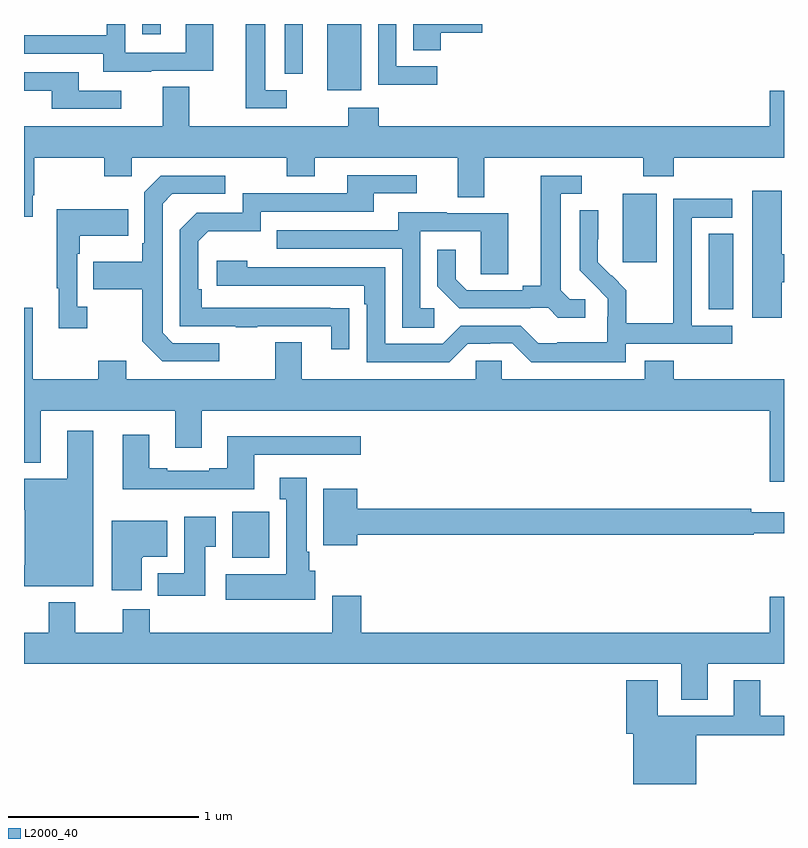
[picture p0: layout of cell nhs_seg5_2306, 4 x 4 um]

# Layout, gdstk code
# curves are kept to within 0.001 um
import gdstk
lib = gdstk.Library(unit=1e-6, precision=1e-09)
def R(c, l, rs):  # rectangles x0, y0, x1, y1
    for r in rs: c.add(gdstk.rectangle(r[:2], r[2:], *l))
def P(c, l, *ps):  # polygons
    for p in ps: c.add(gdstk.Polygon(p, *l))
L2000_40 = (2000, 40)

nhs_seg5_2306 = lib.new_cell('nhs_seg5_2306')
R(nhs_seg5_2306, L2000_40, [(246.095,851.99,246.292,852.232), (248.603,853.297,248.734,853.694), (248.15,853.545,248.329,853.906), (246.596,854.45,246.775,854.799), (245.622,854.745,245.719,854.799)])
P(nhs_seg5_2306, L2000_40, [(246.382,854.451),(246.271,854.451),(246.271,854.799),(246.167,854.799),(246.167,854.355),(246.382,854.355)],
  [(247.174,854.577),(246.96,854.577),(246.96,854.799),(246.864,854.799),(246.864,854.479),(247.174,854.479)],
  [(246.468,854.69),(246.467,854.69),(246.467,854.799),(246.372,854.799),(246.372,854.536),(246.468,854.536)],
  [(245.671,854.553),(245.995,854.553),(245.995,854.799),(245.85,854.799),(245.85,854.649),(245.532,854.649),(245.532,854.799),(245.436,854.799),(245.436,854.739),(245,854.739),(245,854.643),(245.417,854.643),(245.417,854.549),(245.671,854.549)],
  [(247.193,854.753),(247.411,854.753),(247.411,854.799),(247.049,854.799),(247.049,854.662),(247.193,854.662)],
  [(245.512,854.448),(245.287,854.448),(245.287,854.544),(245,854.544),(245,854.448),(245.147,854.448),(245.147,854.352),(245.512,854.352)],
  [(245.047,853.897),(245.055,853.897),(245.055,854.096),(245.422,854.096),(245.422,853.997),(245.568,853.997),(245.568,854.096),(246.382,854.096),(246.382,853.997),(246.529,853.997),(246.529,854.096),(247.283,854.096),(247.283,853.888),(247.423,853.888),(247.423,854.096),(248.26,854.096),(248.26,853.997),(248.42,853.997),(248.42,854.096),(249,854.096),(249,854.449),(248.924,854.449),(248.924,854.26),(246.866,854.26),(246.866,854.359),(246.706,854.359),(246.706,854.26),(245.869,854.26),(245.869,854.468),(245.729,854.468),(245.729,854.26),(245,854.26),(245,853.785),(245.047,853.785)],
  [(246.713,853.304),(245.936,853.305),(245.936,853.402),(245.916,853.402),(245.916,853.656),(245.969,853.709),(246.246,853.709),(246.246,853.812),(246.841,853.812),(246.841,853.908),(247.066,853.908),(247.066,854.004),(246.701,854.004),(246.701,853.908),(246.15,853.908),(246.15,853.806),(245.91,853.806),(245.82,853.716),(245.82,853.209),(246.115,853.209),(246.115,853.204),(246.227,853.204),(246.227,853.209),(246.617,853.209),(246.617,853.086),(246.713,853.086)],
  [(247.954,853.35),(247.872,853.35),(247.825,853.397),(247.825,853.905),(247.936,853.905),(247.936,854.001),(247.721,854.001),(247.721,853.421),(247.625,853.421),(247.625,853.398),(247.33,853.398),(247.273,853.455),(247.273,853.612),(247.176,853.612),(247.176,853.418),(247.292,853.302),(247.664,853.302),(247.664,853.305),(247.758,853.305),(247.81,853.253),(247.954,853.253)],
  [(246.028,853.119),(245.784,853.119),(245.73,853.173),(245.73,853.854),(245.781,853.905),(246.058,853.905),(246.058,854.001),(245.721,854.001),(245.634,853.914),(245.634,853.645),(245.622,853.645),(245.622,853.549),(245.365,853.549),(245.365,853.402),(245.622,853.402),(245.622,853.129),(245.727,853.023),(246.028,853.023)],
  [(248.989,853.439),(249,853.439),(249,853.586),(248.989,853.586),(248.989,853.921),(248.834,853.921),(248.834,853.254),(248.989,853.254)],
  [(248.166,853.116),(248.728,853.116),(248.728,853.212),(248.514,853.212),(248.514,853.779),(248.728,853.779),(248.728,853.878),(248.418,853.878),(248.418,853.448),(248.416,853.448),(248.416,853.225),(248.171,853.225),(248.171,853.399),(248.094,853.476),(248.091,853.473),(248.021,853.544),(248.022,853.82),(247.926,853.82),(247.926,853.502),(248.072,853.354),(248.072,853.257),(248.07,853.257),(248.07,853.123),(247.807,853.123),(247.807,853.119),(247.707,853.119),(247.614,853.212),(247.299,853.212),(247.203,853.116),(246.9,853.116),(246.9,853.518),(246.176,853.518),(246.176,853.552),(246.015,853.552),(246.015,853.422),(246.791,853.422),(246.791,853.325),(246.804,853.325),(246.804,853.02),(247.239,853.02),(247.335,853.116),(247.454,853.116),(247.454,853.119),(247.569,853.119),(247.669,853.019),(248.166,853.019)],
  [(245.332,853.31),(245.28,853.31),(245.28,853.589),(245.293,853.589),(245.293,853.685),(245.549,853.685),(245.549,853.825),(245.172,853.825),(245.172,853.409),(245.183,853.409),(245.183,853.197),(245.332,853.197)],
  [(247.159,853.302),(247.086,853.302),(247.086,853.707),(247.404,853.707),(247.404,853.483),(247.549,853.483),(247.549,853.803),(247.225,853.803),(247.225,853.807),(246.971,853.807),(246.971,853.713),(246.331,853.713),(246.331,853.617),(246.99,853.617),(246.99,853.201),(247.159,853.201)],
  [(249,852.928),(248.42,852.928),(248.42,853.027),(248.267,853.027),(248.267,852.928),(247.515,852.928),(247.515,853.026),(247.377,853.026),(247.377,852.928),(246.463,852.928),(246.463,853.123),(246.323,853.123),(246.323,852.928),(245.539,852.928),(245.539,853.027),(245.392,853.027),(245.392,852.928),(245.047,852.928),(245.047,853.306),(245,853.306),(245,852.491),(245.089,852.491),(245.089,852.764),(245.795,852.764),(245.795,852.57),(245.935,852.57),(245.935,852.764),(248.924,852.764),(248.924,852.39),(249,852.39)],
  [(245.365,852.658),(245.228,852.658),(245.228,852.406),(245,852.406),(245,852.242),(245.003,852.242),(245.003,851.95),(245,851.95),(245,851.84),(245.365,851.84)],
  [(246.211,852.531),(246.772,852.531),(246.772,852.628),(246.071,852.628),(246.071,852.46),(245.975,852.46),(245.975,852.447),(245.755,852.447),(245.755,852.46),(245.659,852.46),(245.659,852.637),(245.519,852.637),(245.519,852.35),(246.211,852.35)],
  [(246.532,851.922),(246.502,851.922),(246.502,852.022),(246.487,852.022),(246.487,852.412),(246.347,852.412),(246.347,852.299),(246.38,852.299),(246.38,851.902),(246.063,851.902),(246.063,851.768),(246.532,851.768)],
  [(246.754,852.112),(248.842,852.112),(248.842,852.12),(249,852.12),(249,852.229),(248.828,852.229),(248.828,852.248),(246.754,852.248),(246.754,852.352),(246.575,852.352),(246.575,852.056),(246.754,852.056)],
  [(245.953,852.049),(246.01,852.049),(246.01,852.205),(245.843,852.205),(245.843,851.908),(245.705,851.908),(245.705,851.79),(245.953,851.79)],
  [(245.62,851.99),(245.626,851.99),(245.626,851.996),(245.755,851.996),(245.755,852.184),(245.462,852.184),(245.462,851.82),(245.62,851.82)],
  [(248.599,851.432),(249,851.432),(249,851.785),(248.924,851.785),(248.924,851.596),(246.776,851.596),(246.776,851.791),(246.623,851.791),(246.623,851.596),(245.663,851.596),(245.663,851.72),(245.519,851.72),(245.519,851.596),(245.269,851.596),(245.269,851.755),(245.129,851.755),(245.129,851.596),(245,851.596),(245,851.432),(248.459,851.432),(248.459,851.242),(248.599,851.242)],
  [(248.539,851.056),(249,851.056),(249,851.157),(248.875,851.157),(248.875,851.344),(248.735,851.344),(248.735,851.157),(248.335,851.157),(248.335,851.344),(248.171,851.344),(248.171,851.064),(248.207,851.064),(248.207,850.799),(248.539,850.799)])

lib.write_gds('nhs_seg5_2306.gds')
